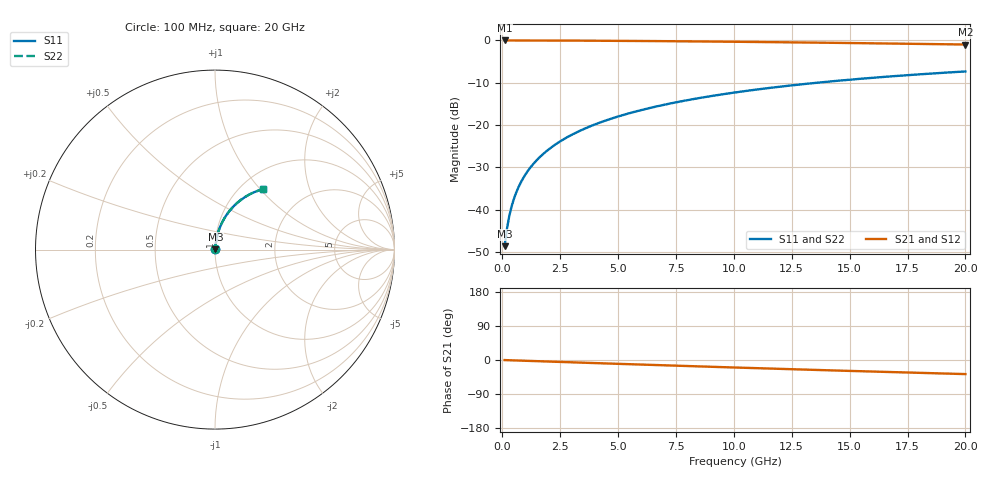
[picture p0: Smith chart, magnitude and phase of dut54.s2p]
! Touchstone file exported from HFSS 2026.1.0
!  File:  C:/ffzhzh/LocalFiles/Ansys_Project_Files/temp_train_BSMRDL_54_1782882595_46784.aedt
!  Generated:  01:11:15 PM Jul  1, 2026
!  Design:  BSMRDL
!  Project:  temp_train_BSMRDL_54_1782882595_46784
! Variables:
!  h_bsmrdl = 4.37um
!  h_ox = 20um
!  h_rdl = 5um
!  h_sub = 80um
!  h_tmrdl = 5um
!  h_tsv = 80um
!  h_via = 3um
!  l_bsmrdl = 460.9um
!  l_sub = 860.9um
!  l_tmrdl = 200um
!  m_sub = 200um
!  pitch = 57.01um
!  r_tsv = 6um
!  s_tmrdl = 10um
!  w_bsmrdl = 15.06um
!  w_sub = 500um
!  w_tmrdl = 12um
!  x_tsv_center1 = 206um
!  x_tsv_center2 = 681.96um
!  x_tsv_center3 = 893.96um
!  x_tsv_center4 = 1369.92um
!  x_tsv_center5 = 1581.92um
!  x_tsv_center6 = 2057.88um
# GHz S MA R 50.000000
! Terminal data exported
! Port[1] = BSM_RDL1_1_T1
! Port[2] = BSM_RDL1_1_T2
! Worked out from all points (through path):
!   200 points, 100 MHz to 20 GHz, reference 50 ohm
!   highest |S21| = -0.02 dB at 100 MHz (marker M1); lowest = -1.0 dB at 20 GHz (marker M2)
!   group delay of S21, straight-line fit = 5.17 ps
!   lowest |S11| = -48.6 dB at 100 MHz (marker M3), VSWR 1.01, Z = 50.3 + j0.269 ohm
!   |S11| at or under -10 dB: start of sweep to 13.59 GHz
!   |S22| runs from -48.6 to -7.3 dB; largest |S21 - S12| = 3.4e-15
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0.1  0.003725 45.8  0.9974 -0.2  0.9974 -0.2  0.003725 45.8
! Gamma 0 0 0 0
! Port Impedance 50 0 50 0
0.2  0.005958 63.2  0.9973 -0.4  0.9973 -0.4  0.005958 63.2
0.3  0.008414 70.5  0.9972 -0.6  0.9972 -0.6  0.008414 70.5
0.4  0.01092 74.4  0.9972 -0.8  0.9972 -0.8  0.01092 74.4
0.5  0.01345 76.7  0.9971 -1.0  0.9971 -1.0  0.01345 76.7
0.7  0.01851 79.4  0.9969 -1.4  0.9969 -1.4  0.01851 79.4
0.8  0.02105 80.2  0.9968 -1.7  0.9968 -1.7  0.02105 80.2
1  0.02613 81.2  0.9966 -2.1  0.9966 -2.1  0.02613 81.2
1.2  0.03123 81.8  0.9964 -2.5  0.9964 -2.5  0.03123 81.8
1.4  0.03632 82.1  0.9962 -2.9  0.9962 -2.9  0.03632 82.1
1.7  0.04396 82.2  0.9958 -3.5  0.9958 -3.5  0.04396 82.2
2  0.0516 82.1  0.9953 -4.1  0.9953 -4.1  0.0516 82.1
2.7  0.06932 81.4  0.9939 -5.5  0.9939 -5.5  0.06932 81.4
3.5  0.08939 80.2  0.9919 -7.1  0.9919 -7.1  0.08939 80.2
4.2  0.1067 79.0  0.9898 -8.5  0.9898 -8.5  0.1067 79.0
5  0.1263 77.6  0.987 -10.1  0.987 -10.1  0.1263 77.6
6.8  0.1693 74.3  0.9796 -13.7  0.9796 -13.7  0.1693 74.3
8.3  0.2039 71.6  0.9723 -16.5  0.9723 -16.5  0.2039 71.6
10.1  0.2438 68.3  0.9624 -19.9  0.9624 -19.9  0.2438 68.3
13.4  0.3124 62.5  0.9416 -26.0  0.9416 -26.0  0.3124 62.5
16.7  0.3744 56.9  0.9182 -31.7  0.9182 -31.7  0.3744 56.9
20  0.4297 51.6  0.8935 -37.2  0.8935 -37.2  0.4297 51.6
